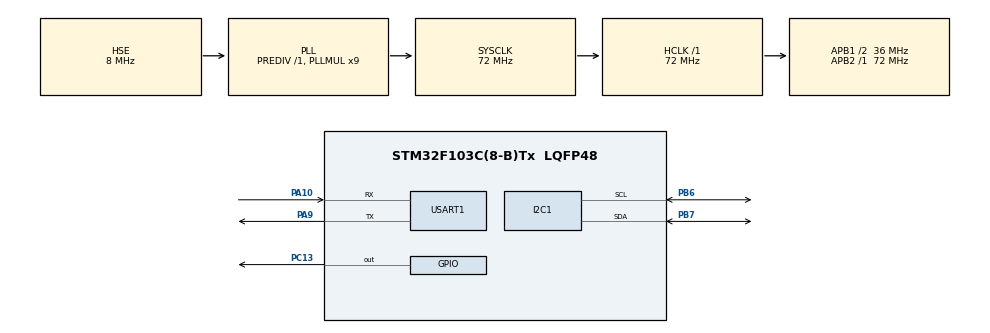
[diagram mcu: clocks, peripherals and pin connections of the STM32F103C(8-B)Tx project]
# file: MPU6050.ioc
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FREERTOS.Tasks01=MPU,24,128,StartMPU,Default,NULL,Dynamic,NULL,NULL
Mcu.Family=STM32F1
Mcu.Name=STM32F103C(8-B)Tx
Mcu.Package=LQFP48
NVIC.PriorityGroup=NVIC_PRIORITYGROUP_4
NVIC.TIM1_UP_IRQn=true\:15\:0\:false\:false\:true\:false\:false\:true\:true
NVIC.TimeBase=TIM1_UP_IRQn
NVIC.TimeBaseIP=TIM1
PA10.Mode=Asynchronous
PA10.Signal=USART1_RX
PA13.Mode=Serial_Wire
PA13.Signal=SYS_JTMS-SWDIO
PA14.Mode=Serial_Wire
PA14.Signal=SYS_JTCK-SWCLK
PA9.Mode=Asynchronous
PA9.Signal=USART1_TX
PB6.Mode=I2C
PB6.Signal=I2C1_SCL
PB7.Mode=I2C
PB7.Signal=I2C1_SDA
PC13-TAMPER-RTC.Signal=GPIO_Output
PC14-OSC32_IN.Mode=LSE-External-Oscillator
PC14-OSC32_IN.Signal=RCC_OSC32_IN
PC15-OSC32_OUT.Mode=LSE-External-Oscillator
PC15-OSC32_OUT.Signal=RCC_OSC32_OUT
PD0-OSC_IN.Mode=HSE-External-Oscillator
PD0-OSC_IN.Signal=RCC_OSC_IN
PD1-OSC_OUT.Mode=HSE-External-Oscillator
PD1-OSC_OUT.Signal=RCC_OSC_OUT
ProjectManager.HeapSize=0x200
ProjectManager.StackSize=0x400
ProjectManager.TargetToolchain=MDK-ARM V5.32
RCC.AHBFreq_Value=72000000
RCC.APB1CLKDivider=RCC_HCLK_DIV2
RCC.APB1Freq_Value=36000000
RCC.APB1TimFreq_Value=72000000
RCC.APB2Freq_Value=72000000
RCC.APB2TimFreq_Value=72000000
RCC.HCLKFreq_Value=72000000
RCC.PLLMUL=RCC_PLL_MUL9
RCC.PLLSourceVirtual=RCC_PLLSOURCE_HSE
RCC.SYSCLKFreq_VALUE=72000000
RCC.SYSCLKSource=RCC_SYSCLKSOURCE_PLLCLK
RCC.USBFreq_Value=72000000
USART1.VirtualMode=VM_ASYNC
VP_FREERTOS_VS_CMSIS_V2.Mode=CMSIS_V2
VP_SYS_VS_tim1.Mode=TIM1
board=custom

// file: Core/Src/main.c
/* USER CODE BEGIN Header */
/**
  ******************************************************************************
  * @file           : main.c
  * @brief          : Main program body
  ******************************************************************************
  * @attention
  *
  * Copyright (c) 2025 STMicroelectronics.
  * All rights reserved.
  *
  * This software is licensed under terms that can be found in the LICENSE file
  * in the root directory of this software component.
  * If no LICENSE file comes with this software, it is provided AS-IS.
  *
  ******************************************************************************
  */
/* USER CODE END Header */
#include "main.h"
#include "cmsis_os.h"
#include "i2c.h"
#include "usart.h"
#include "gpio.h"

/* USER CODE BEGIN Includes */

#define MPU6050_ADDR 0xD0 // MPU6050的设备地址
#define GYRO_CONFIG_REG 0x1B // 陀螺仪配置寄存器
#define ACCEL_CONFIG_REG 0x1C // 加速度计配置寄存器
#define ACCEL_XOUT_H_REG 0x3B //加速度计输出寄存器
#define GYRO_XOUT_H_REG 0x43 // 陀螺仪数据输出寄存器
#define PWR_MGMT_1_REG 0x6B // 电源管理寄存器
#define WHO_AM_I_REG 0x75 // 设备ID寄存器

/* USER CODE END Includes */

void SystemClock_Config(void);
void MX_FREERTOS_Init(void);

/* USER CODE BEGIN 0 */

//void MPU6050_Init(I2C_HandleTypeDef *I2Cx){
//	uint8_t check = 0;
//	HAL_UART_Transmit(&huart1, (uint8_t*)"in\n", 3, 1000);
//	HAL_I2C_Mem_Read(I2Cx, MPU6050_ADDR, WHO_AM_I_REG, 1, &check, 1, 1000); // 检查

//	if (check == 0x68){ // WHO_AM_I值应为0x68
//		HAL_UART_Transmit(&huart1, (uint8_t*)"Link\n", 5, 1000);
////		HAL_UART_Transmit(&huart1, &check, 1, 1000);
//	}

//}

/* USER CODE END 0 */

int main(void)
{

  /* MCU Configuration--------------------------------------------------------*/

  /* Reset of all peripherals, Initializes the Flash interface and the Systick. */
  HAL_Init();

  /* Configure the system clock */
  SystemClock_Config();

  /* Initialize all configured peripherals */
  MX_GPIO_Init();
  MX_I2C1_Init();
  MX_USART1_UART_Init();
  /* USER CODE BEGIN 2 */

	HAL_UART_Transmit(&huart1, (uint8_t*)"SystemLink\n", 11, 1000);

  /* USER CODE END 2 */

  /* Init scheduler */
  osKernelInitialize();  /* Call init function for freertos objects (in cmsis_os2.c) */
  MX_FREERTOS_Init();

  /* Start scheduler */
  osKernelStart();

  /* We should never get here as control is now taken by the scheduler */

  /* Infinite loop */
  while (1)
  {

  }
}

void SystemClock_Config(void)
{
  RCC_OscInitTypeDef RCC_OscInitStruct = {0};
  RCC_ClkInitTypeDef RCC_ClkInitStruct = {0};

  /** Initializes the RCC Oscillators according to the specified parameters
  * in the RCC_OscInitTypeDef structure.
  */
  RCC_OscInitStruct.OscillatorType = RCC_OSCILLATORTYPE_HSE;
  RCC_OscInitStruct.HSEState = RCC_HSE_ON;
  RCC_OscInitStruct.HSEPredivValue = RCC_HSE_PREDIV_DIV1;
  RCC_OscInitStruct.HSIState = RCC_HSI_ON;
  RCC_OscInitStruct.PLL.PLLState = RCC_PLL_ON;
  RCC_OscInitStruct.PLL.PLLSource = RCC_PLLSOURCE_HSE;
  RCC_OscInitStruct.PLL.PLLMUL = RCC_PLL_MUL9;
  if (HAL_RCC_OscConfig(&RCC_OscInitStruct) != HAL_OK)
  {
    Error_Handler();
  }

  /** Initializes the CPU, AHB and APB buses clocks
  */
  RCC_ClkInitStruct.ClockType = RCC_CLOCKTYPE_HCLK|RCC_CLOCKTYPE_SYSCLK
                              |RCC_CLOCKTYPE_PCLK1|RCC_CLOCKTYPE_PCLK2;
  RCC_ClkInitStruct.SYSCLKSource = RCC_SYSCLKSOURCE_PLLCLK;
  RCC_ClkInitStruct.AHBCLKDivider = RCC_SYSCLK_DIV1;
  RCC_ClkInitStruct.APB1CLKDivider = RCC_HCLK_DIV2;
  RCC_ClkInitStruct.APB2CLKDivider = RCC_HCLK_DIV1;

  if (HAL_RCC_ClockConfig(&RCC_ClkInitStruct, FLASH_LATENCY_2) != HAL_OK)
  {
    Error_Handler();
  }
}

void HAL_TIM_PeriodElapsedCallback(TIM_HandleTypeDef *htim)
{
  if (htim->Instance == TIM1)
  {
    HAL_IncTick();
  }
}

void Error_Handler(void)
{
  __disable_irq();
  while (1)
  {
  }
}

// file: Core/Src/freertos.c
/* USER CODE BEGIN Header */
/**
  ******************************************************************************
  * File Name          : freertos.c
  * Description        : Code for freertos applications
  ******************************************************************************
  * @attention
  *
  * Copyright (c) 2025 STMicroelectronics.
  * All rights reserved.
  *
  * This software is licensed under terms that can be found in the LICENSE file
  * in the root directory of this software component.
  * If no LICENSE file comes with this software, it is provided AS-IS.
  *
  ******************************************************************************
  */
/* USER CODE END Header */

#include "FreeRTOS.h"
#include "task.h"
#include "main.h"
#include "cmsis_os.h"

/* USER CODE BEGIN Includes */

#define MPU6050_ADDR 0xD0 // MPU6050的设备地址
#define GYRO_CONFIG_REG 0x1B // 陀螺仪配置寄存器
#define ACCEL_CONFIG_REG 0x1C // 加速度计配置寄存器
#define ACCEL_XOUT_H_REG 0x3B //加速度计输出寄存器
#define GYRO_XOUT_H_REG 0x43 // 陀螺仪数据输出寄存器
#define PWR_MGMT_1_REG 0x6B // 电源管理寄存器
#define WHO_AM_I_REG 0x75 // 设备ID寄存器

#include "stdio.h"

extern I2C_HandleTypeDef hi2c1;
extern UART_HandleTypeDef huart1;

/* USER CODE END Includes */

/* Definitions for MPU */
osThreadId_t MPUHandle;
const osThreadAttr_t MPU_attributes = {
  .name = "MPU",
  .stack_size = 128 * 4,
  .priority = (osPriority_t) osPriorityNormal,
};

void StartMPU(void *argument);

void MX_FREERTOS_Init(void); /* (MISRA C 2004 rule 8.1) */

void MX_FREERTOS_Init(void) {

  /* Create the thread(s) */
  /* creation of MPU */
  MPUHandle = osThreadNew(StartMPU, NULL, &MPU_attributes);

}

/* USER CODE BEGIN Header_StartMPU */
void MPU6050_INIT(){

	HAL_Delay(1000);//   延时*********这里要增加***原本为100

	uint8_t SendAddress = 0x6b;
	uint8_t SendData = 0x00; //解除休眠状态
	HAL_I2C_Mem_Write(&hi2c1,0xD1,SendAddress,1,&SendData,1,0xff);
	SendAddress = 0x19;//采样率分频器
	SendData = 0x07;
	HAL_I2C_Mem_Write(&hi2c1,0xD1,SendAddress,1,&SendData,1,0xff);
	SendAddress = 0x1A;//低通滤波器
	SendData = 0x06;
	HAL_I2C_Mem_Write(&hi2c1,0xD1,SendAddress,1,&SendData,1,0xff);
	SendAddress = 0x1B;//陀螺仪
	SendData = 0x08; //± 500 °/s
	HAL_I2C_Mem_Write(&hi2c1,0xD1,SendAddress,1,&SendData,1,0xff);
	SendAddress = 0x1C;//加速度计
	SendData = 0x00; //± 2g
	HAL_I2C_Mem_Write(&hi2c1,0xD1,SendAddress,1,&SendData,1,0xff);
}

uint8_t MPUData[14];
uint8_t StarAddress = 0x3b;
double ACC_X = 0.0, ACC_Y = 0.0, ACC_Z = 0.0;
double GYR_X = 0.0, GYR_Y = 0.0, GYR_Z = 0.0;

/**
  * @brief  Function implementing the MPU thread.
  * @param  argument: Not used
  * @retval None
  */
/* USER CODE END Header_StartMPU */
void StartMPU(void *argument)
{
  /* USER CODE BEGIN StartMPU */
	MPU6050_INIT();
  /* Infinite loop */
  for(;;)
  {
		HAL_I2C_Mem_Read(&hi2c1, 0XD1, StarAddress, I2C_MEMADD_SIZE_8BIT, MPUData, 14, 50);
		short int ACC_X1 = ((MPUData[0]<<8) | MPUData[1]);ACC_X = (double)ACC_X1/16384;
		short int ACC_Y1 =((MPUData[2]<<8)| MPUData[3]);ACC_Y = (double)ACC_Y1/16384;
		short int ACC_Z1=((MPUData[4]<<8) | MPUData[5]);ACC_Z = (double)ACC_Z1/16384;
		short int GYR_X1= ((MPUData[8]<<8) | MPUData[9]);GYR_X = (double)GYR_X1/65.5;
		short int GYR_Y1 = ((MPUData[10]<<8) | MPUData[11]);GYR_Y = (double)GYR_Y1/65.5;
		short int GYR_Z1 = ((MPUData[12]<<8) | MPUData[13]);GYR_Z = (double)GYR_Z1/65.5;
		static char buffer[128];
		static int length;

		// 打印加速度和陀螺仪数据

		length = sprintf(buffer, "%.3f,%.3f,%.3f\n,%.2f,%.2f,%.2f\n", ACC_X, ACC_Y, ACC_Z,GYR_X, GYR_Y, GYR_Z);
		HAL_UART_Transmit(&huart1, (uint8_t*)buffer, length, 100);

//		// 打印陀螺仪数据
//		length = sprintf(buffer, , );
//		HAL_UART_Transmit(&huart1, (uint8_t*)buffer, length, 100);

    osDelay(100);
  }
  /* USER CODE END StartMPU */
}
